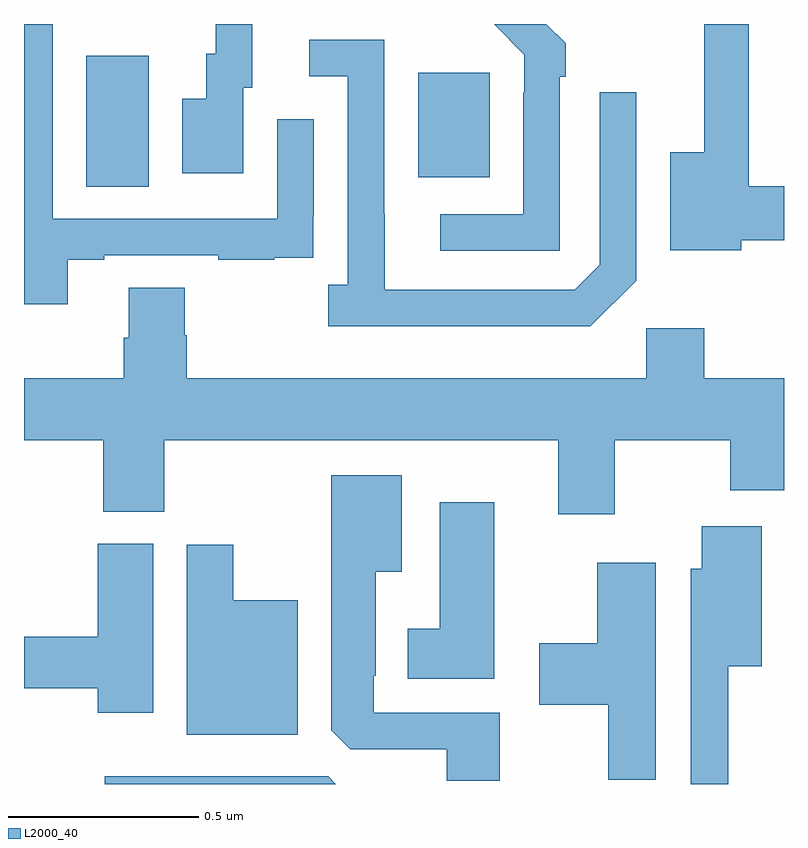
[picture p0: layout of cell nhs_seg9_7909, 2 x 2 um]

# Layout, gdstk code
import gdstk
lib = gdstk.Library(unit=1e-6, precision=1e-09)
def R(c, l, rs):  # rectangles x0, y0, x1, y1
    for r in rs: c.add(gdstk.rectangle(r[:2], r[2:], *l))
def P(c, l, *ps):  # polygons
    for p in ps: c.add(gdstk.Polygon(p, *l))
L2000_40 = (2000, 40)

nhs_seg9_7909 = lib.new_cell('nhs_seg9_7909')
R(nhs_seg9_7909, L2000_40, [(210.164,1213.072,210.328,1213.416), (211.037,1213.097,211.225,1213.372)])
P(nhs_seg9_7909, L2000_40, [(211.888,1212.931),(212,1212.931),(212,1213.073),(211.907,1213.073),(211.907,1213.5),(211.79,1213.5),(211.79,1213.162),(211.7,1213.162),(211.7,1212.905),(211.888,1212.905)],
  [(211.41,1213.361),(211.425,1213.361),(211.425,1213.449),(211.374,1213.5),(211.237,1213.5),(211.317,1213.419),(211.317,1213.319),(211.314,1213.319),(211.314,1212.999),(211.095,1212.999),(211.095,1212.903),(211.41,1212.903)],
  [(210.577,1213.332),(210.601,1213.332),(210.601,1213.5),(210.504,1213.5),(210.504,1213.422),(210.479,1213.422),(210.479,1213.303),(210.416,1213.303),(210.416,1213.107),(210.577,1213.107)],
  [(210.115,1212.879),(210.211,1212.879),(210.211,1212.891),(210.511,1212.891),(210.511,1212.879),(210.659,1212.879),(210.659,1212.885),(210.761,1212.885),(210.761,1212.994),(210.762,1212.994),(210.762,1213.249),(210.666,1213.249),(210.666,1212.987),(210.075,1212.987),(210.075,1213.5),(210,1213.5),(210,1212.762),(210.115,1212.762)],
  [(211.611,1212.825),(211.611,1213.321),(211.515,1213.321),(211.515,1212.867),(211.449,1212.801),(210.949,1212.801),(210.949,1213.001),(210.948,1213.001),(210.948,1213.458),(210.75,1213.458),(210.75,1213.362),(210.852,1213.362),(210.852,1212.814),(210.801,1212.814),(210.801,1212.704),(211.49,1212.704)],
  [(211.554,1212.404),(211.858,1212.404),(211.858,1212.273),(212,1212.273),(212,1212.568),(211.79,1212.568),(211.79,1212.7),(211.638,1212.7),(211.638,1212.568),(210.428,1212.568),(210.428,1212.681),(210.423,1212.681),(210.423,1212.806),(210.275,1212.806),(210.275,1212.674),(210.263,1212.674),(210.263,1212.568),(210,1212.568),(210,1212.404),(210.209,1212.404),(210.209,1212.217),(210.369,1212.217),(210.369,1212.404),(211.406,1212.404),(211.406,1212.21),(211.554,1212.21)],
  [(211.252,1211.688),(210.921,1211.688),(210.921,1211.785),(210.925,1211.785),(210.925,1212.059),(210.994,1212.059),(210.994,1212.313),(210.809,1212.313),(210.809,1211.641),(210.858,1211.592),(211.112,1211.592),(211.112,1211.509),(211.252,1211.509)],
  [(211.237,1212.241),(211.094,1212.241),(211.094,1211.908),(211.01,1211.908),(211.01,1211.777),(211.237,1211.777)],
  [(211.853,1211.81),(211.942,1211.81),(211.942,1212.178),(211.784,1212.178),(211.784,1212.067),(211.755,1212.067),(211.755,1211.5),(211.853,1211.5)],
  [(210.34,1212.132),(210.194,1212.132),(210.194,1211.888),(210,1211.888),(210,1211.752),(210.194,1211.752),(210.194,1211.688),(210.34,1211.688)],
  [(210.721,1211.983),(210.55,1211.983),(210.55,1212.13),(210.428,1212.13),(210.428,1211.63),(210.721,1211.63)],
  [(211.663,1212.082),(211.508,1212.082),(211.508,1211.871),(211.356,1211.871),(211.356,1211.708),(211.538,1211.708),(211.538,1211.511),(211.663,1211.511)],
  [(210.801,1211.52),(210.213,1211.52),(210.213,1211.5),(210.821,1211.5)])

lib.write_gds('nhs_seg9_7909.gds')
